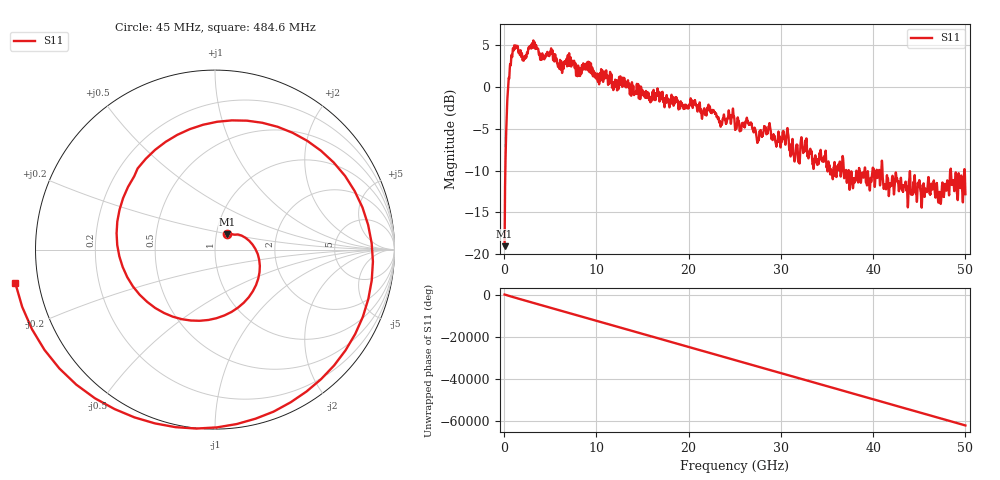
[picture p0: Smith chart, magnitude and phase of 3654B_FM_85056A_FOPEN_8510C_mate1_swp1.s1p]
!Created with skrf (http://scikit-rf.org).
# Hz S RI R 50.0
!freq ReS11 ImS11
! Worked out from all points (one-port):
!   10001 points, 45 MHz to 50 GHz, reference 50 ohm
!   lowest |S11| = -19.1 dB at 45 MHz (marker M1), VSWR 1.25, Z = 56.5 + j9.97 ohm
!   |S11| at or under -10 dB: 37.36 GHz to 38.45 GHz (1.094 GHz wide, 2.89 % of centre); 41.01 GHz to 48.37 GHz (7.36 GHz wide, 16.5 % of centre); 48.44 GHz to 49.89 GHz (1.449 GHz wide, 2.95 % of centre) (the widest 3 of 17)
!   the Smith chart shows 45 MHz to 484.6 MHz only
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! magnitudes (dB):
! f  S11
! 45 MHz  -19.1
! 314.8 MHz  -2.1
! 434.6 MHz  0.1
! 699.4 MHz  2.6
! 1.024 GHz  4.4
! 2.188 GHz  3.7
! 3.237 GHz  4.7
! 6.289 GHz  1.7
! 12.53 GHz  0.4
! 18.78 GHz  -1.8
! 25.02 GHz  -4.9
! 26.5 GHz  -4.5
! 27.51 GHz  -6.4
! 30.52 GHz  -6.7
! 31.27 GHz  -6.3
! 32.56 GHz  -7.7
! 33.61 GHz  -8.8
! 34.39 GHz  -8.6
! 35.51 GHz  -10.4
! 36.57 GHz  -10.1
! 37.51 GHz  -11.1
! 40.77 GHz  -11.6
! 41.28 GHz  -11.7
! 43.76 GHz  -14.4
! 46.46 GHz  -12.2
! 47.2 GHz  -12.6
! 48.52 GHz  -11.7
! 50 GHz  -12.8
